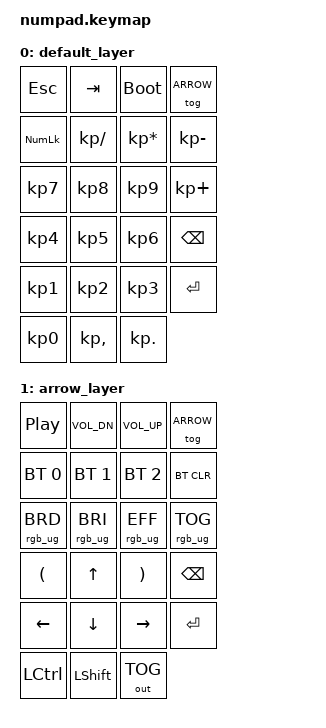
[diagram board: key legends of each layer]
#include <behaviors.dtsi>
#include <dt-bindings/zmk/keys.h>
#include <dt-bindings/zmk/bt.h>
#include <dt-bindings/zmk/outputs.h>
#include <dt-bindings/zmk/rgb.h>

#define ARROW 1

/ {
    keymap {
        compatible = "zmk,keymap";

        default_layer {

            bindings = <
    &kp ESC    &kp TAB       &bootloader     &tog ARROW
    &kp KP_NUM &kp KP_DIVIDE &kp KP_MULTIPLY &kp KP_MINUS
    &kp KP_N7  &kp KP_N8     &kp KP_N9       &kp KP_PLUS
	&kp KP_N4  &kp KP_N5     &kp KP_N6       &kp BSPC
	&kp KP_N1  &kp KP_N2     &kp KP_N3       &kp ENTER
	&kp KP_N0  &kp KP_COMMA  &kp KP_DOT      
            >;

        };  
		
		arrow_layer {
		
			bindings = <
	&kp C_PP     &kp C_VOL_DN &kp C_VOL_UP &tog ARROW
    &bt BT_SEL 0 &bt BT_SEL 1 &bt BT_SEL 2 &bt BT_CLR
    &rgb_ug RGB_BRD &rgb_ug RGB_BRI &rgb_ug RGB_EFF &rgb_ug RGB_TOG
	&kp LPAR     &kp UP       &kp RPAR     &kp BSPC
	&kp LEFT     &kp DOWN     &kp RIGHT    &kp ENTER
	&kp LCTRL    &kp LSHFT    &out OUT_TOG
			>;
		
		};
    };
};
